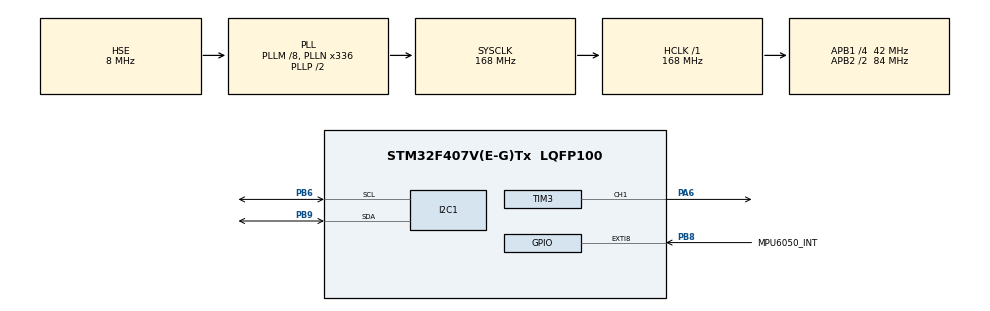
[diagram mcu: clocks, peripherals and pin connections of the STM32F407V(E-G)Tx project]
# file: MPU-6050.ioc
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I2C1.I2C_Mode=I2C_Fast
Mcu.Family=STM32F4
Mcu.Name=STM32F407V(E-G)Tx
Mcu.Package=LQFP100
NVIC.EXTI9_5_IRQn=true\:0\:0\:false\:false\:true\:true\:true\:true
NVIC.PriorityGroup=NVIC_PRIORITYGROUP_0
NVIC.TIM6_DAC_IRQn=true\:0\:0\:false\:false\:true\:true\:true\:true
PA13.GPIO_Label=SWDIO
PA13.Mode=Serial_Wire
PA13.Signal=SYS_JTMS-SWDIO
PA14.GPIO_Label=SWCLK
PA14.Mode=Serial_Wire
PA14.Signal=SYS_JTCK-SWCLK
PA6.Signal=S_TIM3_CH1
PB3.GPIO_Label=SWO
PB3.Signal=SYS_JTDO-SWO
PB6.Mode=I2C
PB6.Signal=I2C1_SCL
PB8.GPIO_Label=MPU6050_INT
PB8.GPIO_ModeDefaultEXTI=GPIO_MODE_IT_RISING
PB8.GPIO_PuPd=GPIO_PULLUP
PB8.Signal=GPXTI8
PB9.Mode=I2C
PB9.Signal=I2C1_SDA
PC14-OSC32_IN.GPIO_Label=PC14-OSC32_IN
PC14-OSC32_IN.Mode=LSE-External-Oscillator
PC14-OSC32_IN.Signal=RCC_OSC32_IN
PC15-OSC32_OUT.GPIO_Label=PC15-OSC32_OUT
PC15-OSC32_OUT.Mode=LSE-External-Oscillator
PC15-OSC32_OUT.Signal=RCC_OSC32_OUT
PH0-OSC_IN.GPIO_Label=PH0-OSC_IN
PH0-OSC_IN.Mode=HSE-External-Oscillator
PH0-OSC_IN.Signal=RCC_OSC_IN
PH1-OSC_OUT.GPIO_Label=PH1-OSC_OUT
PH1-OSC_OUT.Mode=HSE-External-Oscillator
PH1-OSC_OUT.Signal=RCC_OSC_OUT
ProjectManager.HeapSize=0x200
ProjectManager.StackSize=0x400
ProjectManager.TargetToolchain=STM32CubeIDE
RCC.48MHZClocksFreq_Value=48000000
RCC.AHBFreq_Value=168000000
RCC.APB1CLKDivider=RCC_HCLK_DIV4
RCC.APB1Freq_Value=42000000
RCC.APB1TimFreq_Value=84000000
RCC.APB2CLKDivider=RCC_HCLK_DIV2
RCC.APB2Freq_Value=84000000
RCC.APB2TimFreq_Value=168000000
RCC.CortexFreq_Value=168000000
RCC.HCLKFreq_Value=168000000
RCC.HSE_VALUE=8000000
RCC.HSI_VALUE=16000000
RCC.PLLM=8
RCC.PLLN=336
RCC.PLLQ=7
RCC.PLLSourceVirtual=RCC_PLLSOURCE_HSE
RCC.SYSCLKFreq_VALUE=168000000
RCC.SYSCLKSource=RCC_SYSCLKSOURCE_PLLCLK
RCC.VCOOutputFreq_Value=336000000
SH.S_TIM3_CH1.0=TIM3_CH1,PWM Generation1 CH1
TIM3.AutoReloadPreload=TIM_AUTORELOAD_PRELOAD_ENABLE
TIM3.Channel-PWM\ Generation1\ CH1=TIM_CHANNEL_1
TIM3.Period=9999
TIM3.Prescaler=83
TIM6.AutoReloadPreload=TIM_AUTORELOAD_PRELOAD_ENABLE
TIM6.Period=1904
VP_TIM6_VS_ClockSourceINT.Mode=Enable_Timer
board=STM32F407G-DISC1

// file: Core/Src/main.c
/* USER CODE BEGIN Header */
/**
  ******************************************************************************
  * @file           : main.c
  * @brief          : Main program body
  ******************************************************************************
  * @attention
  *
  * Copyright (c) 2026 STMicroelectronics.
  * All rights reserved.
  *
  * This software is licensed under terms that can be found in the LICENSE file
  * in the root directory of this software component.
  * If no LICENSE file comes with this software, it is provided AS-IS.
  *
  ******************************************************************************
  */
/* USER CODE END Header */
#include "main.h"
#include "i2c.h"
#include "tim.h"
#include "gpio.h"

/* USER CODE BEGIN Includes */
#include "mpu6050.h"
#include "embedtools/time_dwt.h"
#include "ahrs.h"
#include "es_math.h"

/* USER CODE END Includes */

/* USER CODE BEGIN PTD */
typedef struct {
	et_dwt_interval_t sample_timer;
	uint32_t 	sample_time_ticks;
	float		sample_time_fl_us;
	uint16_t 	sample_time_us;
	uint16_t 	data_exchange_time_us;
	uint16_t	signal_processing_us;
} time_profiling_t;
/* USER CODE END PTD */

/* USER CODE BEGIN PD */
enum {
	US_IN_S = 1000000,
	N_SAMPLES_BEFORE_GYRO_INIT = 10,
	N_FILTER_CONSTANTS = 6,
	LOOP_TIME_MS = 1,
	N_ACCEL_SAMPLE_FOR_INITIAL_ESTIMATION = 100,
	N_KI_CONSTANTS = 4,
};
/* USER CODE END PD */

/* USER CODE BEGIN PV */
MPU6050_t mpu_data;
MPU6050_Calibration_t mpu_cal;
vector_3f_t accel_g;
float accel_magnitude_g = 0.0f;
vector_3f_t gyro_dps;
vector_3f_t gyro_radps;
MPU6050_GyroZero_t gyro_zero;
ahrs_attitude_t attitude;
ahrs_attitude_t attitude_deg;
ahrs_attitude_t accu_accel_attitude_deg = {0};
vector_3f_t gyro_angles_deg;
volatile uint8_t mpu_data_ready = 0;
volatile time_profiling_t timings = {0};
uint8_t cnt_main_cycles = 0;
uint8_t cnt_read_failure = 0;
uint8_t mpu_int_status = 0;
uint8_t cnt_stale_reads = 0;
uint8_t error_trap = 0;
uint8_t gyro_inited = 0;
uint8_t gyro_init_request = 0;
uint8_t reset_orientation = 0;
HAL_StatusTypeDef i2c_status = HAL_OK;
uint16_t cnt_accel_samples = 0;
// Time constants for complementary filters
float tau_ms [N_FILTER_CONSTANTS] = {
	10,
	50,
	100,
	500,
	1000,
	5000,
};
// Complementary filter constants
float alpha [N_FILTER_CONSTANTS] = {0};
vector_3f_t complementary_filer_orientation_deg[N_FILTER_CONSTANTS];

// Quaternion-based orientation
static const float AHRS_KP = 1.0f;
float ki[N_KI_CONSTANTS] = {
	0.1, 1, 10, 0
};
ahrs_t ahrs[N_KI_CONSTANTS] = {0};
vector_3f_t quaternion_orientation_deg[N_KI_CONSTANTS];
/* USER CODE END PV */

void SystemClock_Config(void);
/* USER CODE BEGIN PFP */
static void Timing_ConfigureInterruptPriorities(void);
/* USER CODE END PFP */

/* USER CODE BEGIN 0 */
void process_orientation_reset_request(void) {
	vector_3f_t reset_orientation = {.x = 0, .y = 1, .z = 0};
	for (uint8_t i = 0; i < N_FILTER_CONSTANTS; ++i) {
		ahrs_gyro_reset(&complementary_filer_orientation_deg[i], &reset_orientation);
	}
	for (uint8_t i = 0; i < N_KI_CONSTANTS; ++i) {
		ahrs_init(&ahrs[i], &reset_orientation, AHRS_KP, ki[i]);
	}
}

/* USER CODE END 0 */

int main(void)
{

	/* MCU Configuration--------------------------------------------------------*/

	/* Reset of all peripherals, Initializes the Flash interface and the Systick. */
	HAL_Init();

	/* Configure the system clock */
	SystemClock_Config();

	/* Initialize all configured peripherals */
	MX_GPIO_Init();
	MX_TIM6_Init();
	MX_I2C1_Init();
	MX_TIM3_Init();
	/* USER CODE BEGIN 2 */
	/* After the MX_*_Init() calls, which set the EXTI priority and grouping. */
	Timing_ConfigureInterruptPriorities();

	et_dwt_init(SystemCoreClock);
	et_dwt_interval_init(&timings.sample_timer);
	MPU6050_Calibration_Init(&mpu_cal);
	MPU6050_Gyro_Zero_Init(&gyro_zero);
	i2c_status = MPU6050_Init(&hi2c1);
	if (i2c_status != HAL_OK) {
		// Toggle an onboard LED or enter error loop if sensor is missing
		 Error_Handler();
	}

	for (uint8_t i = 0; i < N_FILTER_CONSTANTS; ++i) {
		alpha[i] = tau_ms[i] / (tau_ms[i] + LOOP_TIME_MS);
	}
	/* USER CODE END 2 */

	/* Infinite loop */
	/* USER CODE BEGIN WHILE */
	while (1)
	{
		if (reset_orientation) {
			reset_orientation = 0;
			process_orientation_reset_request();
		}

		// Handling missed interrupt from sensor
		if (HAL_GPIO_ReadPin(MPU6050_INT_GPIO_Port, MPU6050_INT_Pin)) {
			mpu_data_ready = 1;
		}

		if (mpu_data_ready) {
			mpu_data_ready = 0; // Clear software flag
			ET_DWT_START(i2c_exchange);
			i2c_status = MPU6050_Read_All(&hi2c1, &mpu_data, &mpu_int_status);
			timings.data_exchange_time_us = et_dwt_to_us(ET_DWT_ELAPSED(i2c_exchange));
			if (i2c_status == HAL_OK) {
				if (mpu_int_status & MPU6050_INT_DATA_RDY) {
					ET_DWT_START(sig_processing);
					mpu_data.sample_time_us = timings.sample_time_fl_us;

					MPU6050_Apply_Calibration(&mpu_cal, &mpu_data, &accel_g);

					accel_magnitude_g = MPU6050_Gravity_Magnitude(&accel_g);

					MPU6050_Gyro_Zero_Update(&gyro_zero, &mpu_data,
					                         accel_magnitude_g, &mpu_cal);

					MPU6050_Apply_Gyro_Calibration(&mpu_cal, &mpu_data, &gyro_dps);

					ahrs_estimate_attitude(&accel_g, &attitude);

					attitude_deg.roll = rad_to_deg(attitude.roll);
					attitude_deg.pitch = rad_to_deg(attitude.pitch);

					if (((!gyro_inited && (mpu_data.sample_count > N_SAMPLES_BEFORE_GYRO_INIT))
					|| gyro_init_request) && gyro_zero.ready) {
						cnt_accel_samples += 1;
						accu_accel_attitude_deg.roll += attitude_deg.roll;
						accu_accel_attitude_deg.pitch += attitude_deg.pitch;

						if (cnt_accel_samples > N_ACCEL_SAMPLE_FOR_INITIAL_ESTIMATION) {
							gyro_inited = 1;
							gyro_init_request = 0;
							vector_3f_t init_angle = {
									.x = accu_accel_attitude_deg.roll / cnt_accel_samples,
									.y = accu_accel_attitude_deg.pitch / cnt_accel_samples,
									.z = 0,
							};
							cnt_accel_samples = 0;
							accu_accel_attitude_deg.roll = 0;
							accu_accel_attitude_deg.pitch = 0;
							ahrs_gyro_reset(&gyro_angles_deg, &init_angle);
							for (uint8_t i = 0; i < N_FILTER_CONSTANTS; ++i) {
								ahrs_gyro_reset(&complementary_filer_orientation_deg[i], &init_angle);
							}
							for (uint8_t i = 0; i < N_KI_CONSTANTS; ++i) {
								ahrs_init(&ahrs[i], &accel_g, AHRS_KP, ki[i]);
							}
						}
					}

					ahrs_gyro_loop(&gyro_dps, (mpu_data.sample_time_us) / US_IN_S, &gyro_angles_deg);

					for (uint8_t i = 0; i < N_FILTER_CONSTANTS; ++i) {
						ahrs_complementary_filter(&attitude_deg, &gyro_dps,
								&complementary_filer_orientation_deg[i], alpha[i],
								(mpu_data.sample_time_us) / US_IN_S);
					}

					gyro_radps = vector_3f_scale(&gyro_dps, DEG2RAD_F);
					for (uint8_t i = 0; i < N_KI_CONSTANTS; ++i) {
						ahrs_update(&ahrs[i], &gyro_radps, &accel_g, (mpu_data.sample_time_us) / US_IN_S);
						vector_3f_t quaternion_orientation_rad = quaternion_to_euler(&ahrs[i].orientation);
						quaternion_orientation_deg[i] = vector_3f_scale(&quaternion_orientation_rad, RAD2DEG_F);
					}

					++mpu_data.sample_count;
					timings.signal_processing_us = et_dwt_to_us(ET_DWT_ELAPSED(sig_processing));

				} else {
					++cnt_stale_reads;
				}
			} else {
				++cnt_read_failure;
				// Bus is locked up! (HAL_BUSY or HAL_ERROR)
				// 1. Clear the stuck SDA line physically
				MPU6050_Reset_I2C_Bus(&hi2c1);

				// 2. Re-awaken the sensor registers (Wake up, Filter, Sample Rate, Interrupts)
				MPU6050_Init(&hi2c1);
			}
		}
		cnt_main_cycles += 1;
	/* USER CODE END WHILE */

	}
}

void SystemClock_Config(void)
{
  RCC_OscInitTypeDef RCC_OscInitStruct = {0};
  RCC_ClkInitTypeDef RCC_ClkInitStruct = {0};

  /** Configure the main internal regulator output voltage
  */
  __HAL_RCC_PWR_CLK_ENABLE();
  __HAL_PWR_VOLTAGESCALING_CONFIG(PWR_REGULATOR_VOLTAGE_SCALE1);

  /** Initializes the RCC Oscillators according to the specified parameters
  * in the RCC_OscInitTypeDef structure.
  */
  RCC_OscInitStruct.OscillatorType = RCC_OSCILLATORTYPE_HSE;
  RCC_OscInitStruct.HSEState = RCC_HSE_ON;
  RCC_OscInitStruct.PLL.PLLState = RCC_PLL_ON;
  RCC_OscInitStruct.PLL.PLLSource = RCC_PLLSOURCE_HSE;
  RCC_OscInitStruct.PLL.PLLM = 8;
  RCC_OscInitStruct.PLL.PLLN = 336;
  RCC_OscInitStruct.PLL.PLLP = RCC_PLLP_DIV2;
  RCC_OscInitStruct.PLL.PLLQ = 7;
  if (HAL_RCC_OscConfig(&RCC_OscInitStruct) != HAL_OK)
  {
    Error_Handler();
  }

  /** Initializes the CPU, AHB and APB buses clocks
  */
  RCC_ClkInitStruct.ClockType = RCC_CLOCKTYPE_HCLK|RCC_CLOCKTYPE_SYSCLK
                              |RCC_CLOCKTYPE_PCLK1|RCC_CLOCKTYPE_PCLK2;
  RCC_ClkInitStruct.SYSCLKSource = RCC_SYSCLKSOURCE_PLLCLK;
  RCC_ClkInitStruct.AHBCLKDivider = RCC_SYSCLK_DIV1;
  RCC_ClkInitStruct.APB1CLKDivider = RCC_HCLK_DIV4;
  RCC_ClkInitStruct.APB2CLKDivider = RCC_HCLK_DIV2;

  if (HAL_RCC_ClockConfig(&RCC_ClkInitStruct, FLASH_LATENCY_5) != HAL_OK)
  {
    Error_Handler();
  }
}

/* USER CODE BEGIN 4 */

/**
  * @brief  Apply the interrupt priorities the timing experiment depends on.
  *
  * Grouping first: HAL_NVIC_SetPriority() encodes against whatever grouping is
  * current, and the generated HAL_MspInit() leaves it at NVIC_PRIORITYGROUP_0,
  * which has no pre-emption bits. Lower number wins. TIM6 is pinned weak in
  * both modes so it cannot become a second source of delay.
  */
static void Timing_ConfigureInterruptPriorities(void)
{
    HAL_NVIC_SetPriorityGrouping(NVIC_PRIORITYGROUP_4);

#if TIMING_PRIORITY_MODE == TIMING_SYSTICK_WINS
    /* A tick landing just before a DATA_RDY edge delays the timestamp, and the
       interval that follows is short by the same amount. */
    HAL_NVIC_SetPriority(SysTick_IRQn,  0U, 0U);
    HAL_NVIC_SetPriority(EXTI9_5_IRQn, 15U, 0U);
    HAL_NVIC_SetPriority(TIM6_DAC_IRQn, 15U, 0U);
#else
    /* Shipped: nothing outranks the measurement. */
    HAL_NVIC_SetPriority(EXTI9_5_IRQn,  0U, 0U);
    HAL_NVIC_SetPriority(SysTick_IRQn, 15U, 0U);
    HAL_NVIC_SetPriority(TIM6_DAC_IRQn, 15U, 0U);
#endif

}

void HAL_GPIO_EXTI_Callback(uint16_t GPIO_Pin)
{
    if (GPIO_Pin == MPU6050_INT_Pin) { // Ensure this matches your CubeMX user label for PB8
        mpu_data_ready = 1;
        timings.sample_time_ticks = et_dwt_interval_update(&timings.sample_timer);
        timings.sample_time_us = et_dwt_to_us_u32(timings.sample_time_ticks);
        timings.sample_time_fl_us = et_dwt_to_us(timings.sample_time_ticks);
    }
}
/* USER CODE END 4 */

void Error_Handler(void)
{
  /* USER CODE BEGIN Error_Handler_Debug */
  /* User can add his own implementation to report the HAL error return state */
  __disable_irq();
  while (1)
  {
	  error_trap = 1;
  }
  /* USER CODE END Error_Handler_Debug */
}
